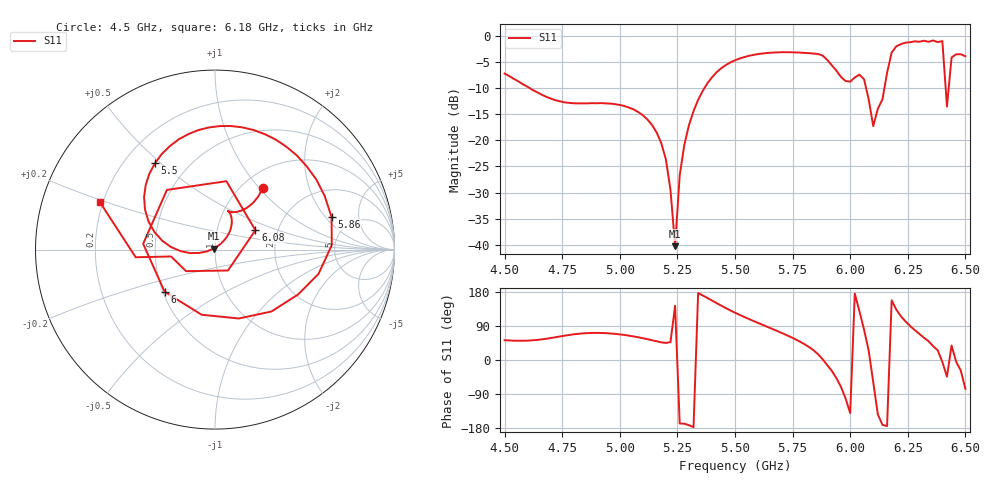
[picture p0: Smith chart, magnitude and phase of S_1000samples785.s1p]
! TOUCHSTONE file generated by CST MICROWAVE STUDIO
! Date and time: Sat Oct 29 09:15:38 2022
! Project name: L.cst
! Parameters = {Di=1.27; Epsilon_r=1.56; InnerDiameter=1.27; Length=2; Lf=10; Lg=60; OuterConductorThickness=0.2921; OuterDiameter=3.6; Wf=3; Wp=41.2; de=1.5; df=6.8; g=0.8; gx=1.17792; gy=1.65401; h=2.34; hf=1.524; px=12.8249; py=13.472; w=9.7; wx=11.647; wy=11.818}
! Header version: 2018
! Port assignment regex: !\s*Touchstone port\s*([0-9]+)\s*=\s*(CST MWS port|CST DS port)\s*([0-9]+|Zmin|Zmax)\s*\(\"(.*)\"\)(\s*mode\s*([0-9]+))?.*
! Touchstone port assignment:
! Touchstone port 1 = CST MWS port 1 ("")
# GHz S DB R 50
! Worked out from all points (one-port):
!   101 points, 4.5 GHz to 6.5 GHz, reference 50 ohm
!   lowest |S11| = -40.3 dB at 5.24 GHz (marker M1), VSWR 1.02, Z = 49.2 + j0.571 ohm
!   |S11| at or under -10 dB: 4.61 GHz to 5.367 GHz (757.2 MHz wide, 15.2 % of centre); 6.069 GHz to 6.148 GHz (79.21 MHz wide, 1.3 % of centre); 6.414404 GHz to 6.42747 GHz (13.07 MHz wide, 0.203 % of centre)
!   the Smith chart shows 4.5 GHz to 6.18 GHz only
!   S11 on the Smith chart (normalised r, x): 4.5 GHz: 1.23, +1.05; 5.5 GHz: 0.33, +0.48; 5.86 GHz: 3.50, +2.33; 6 GHz: 0.51, -0.28; 6.08 GHz: 1.53, +0.35; 6.18 GHz: 0.19, +0.19
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4.5  -7.18 52.2
4.76  -12.71 64.2
5  -13.21 67.5
5.18  -20.52 46.5
5.22  -29.51 47.3
5.24  -40.29 143.2
5.26  -26.69 -167.5
5.34  -12.22 176.7
5.5  -4.65 124.8
5.64  -3.23 87.6
5.76  -3.13 55.2
5.86  -3.42 15.6
5.94  -6.62 -47.7
6  -8.73 -140.2
6.04  -7.39 128.9
6.06  -8.26 80.6
6.08  -12.06 25.6
6.1  -17.26 -58.2
6.16  -7.05 -174.5
6.18  -3.15 157.4
6.22  -1.54 115.5
6.26  -1.19 89.7
6.36  -0.84 36.5
6.4  -0.95 -5.2
6.42  -13.51 -43.9
6.44  -4.10 38.3
6.48  -3.49 -27.7
6.5  -3.86 -76.2
